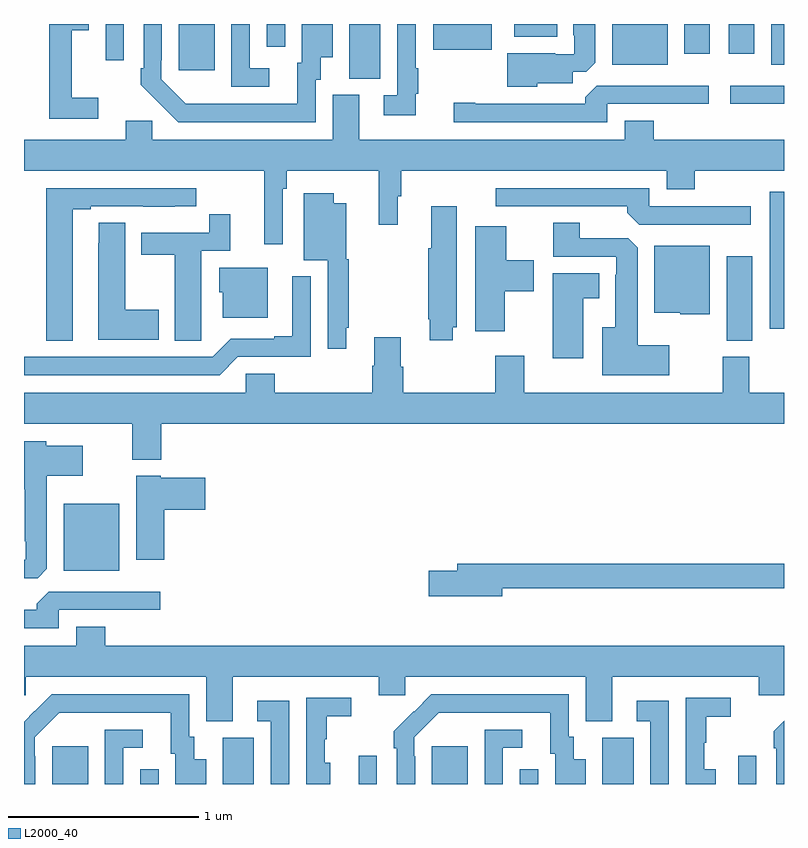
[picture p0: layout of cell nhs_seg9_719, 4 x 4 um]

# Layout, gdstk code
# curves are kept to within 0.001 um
import gdstk
lib = gdstk.Library(unit=1e-6, precision=1e-09)
def R(c, l, rs):  # rectangles x0, y0, x1, y1
    for r in rs: c.add(gdstk.rectangle(r[:2], r[2:], *l))
def P(c, l, *ps):  # polygons
    for p in ps: c.add(gdstk.Polygon(p, *l))
L2000_40 = (2000, 40)

nhs_seg9_719 = lib.new_cell('nhs_seg9_719')
R(nhs_seg9_719, L2000_40, [(147.149,1218.5,147.337,1218.7), (147.612,1218.5,147.708,1218.577), (148.046,1218.5,148.21,1218.744), (148.761,1218.5,148.857,1218.649), (149.147,1218.5,149.335,1218.7), (149.61,1218.5,149.706,1218.577), (150.044,1218.5,150.208,1218.744), (150.759,1218.5,150.855,1218.649), (147.209,1219.622,147.502,1219.975), (150.698,1220.833,150.832,1221.277), (150.926,1220.897,151,1221.618), (150.717,1222.08,151,1222.176), (148.712,1222.213,148.876,1222.5), (147.815,1222.257,148.003,1222.5), (150.095,1222.286,150.388,1222.5), (150.932,1222.286,151,1222.5), (147.429,1222.308,147.525,1222.5), (150.476,1222.344,150.61,1222.5), (150.71,1222.344,150.844,1222.5), (149.153,1222.364,149.461,1222.5), (148.278,1222.38,148.374,1222.5), (149.579,1222.433,149.806,1222.5)])
P(nhs_seg9_719, L2000_40, [(148.291,1222.266),(148.188,1222.266),(148.188,1222.5),(148.092,1222.5),(148.092,1222.17),(148.291,1222.17)],
  [(148.536,1222.206),(148.561,1222.206),(148.561,1222.325),(148.624,1222.325),(148.624,1222.5),(148.463,1222.5),(148.463,1222.296),(148.439,1222.296),(148.439,1222.08),(147.852,1222.081),(147.723,1222.209),(147.723,1222.309),(147.726,1222.309),(147.726,1222.5),(147.63,1222.5),(147.63,1222.267),(147.615,1222.267),(147.615,1222.179),(147.812,1221.984),(148.536,1221.984)],
  [(147.391,1222.111),(147.251,1222.111),(147.251,1222.466),(147.34,1222.466),(147.34,1222.5),(147.133,1222.5),(147.133,1222.002),(147.391,1222.002)],
  [(149.7,1222.187),(149.887,1222.187),(149.887,1222.248),(149.958,1222.248),(150.007,1222.297),(150.007,1222.5),(149.891,1222.5),(149.891,1222.441),(149.895,1222.441),(149.895,1222.341),(149.795,1222.341),(149.795,1222.345),(149.543,1222.345),(149.543,1222.169),(149.7,1222.169)],
  [(149.063,1222.132),(149.074,1222.132),(149.074,1222.268),(149.061,1222.268),(149.061,1222.5),(148.965,1222.5),(148.965,1222.125),(148.893,1222.125),(148.893,1222.02),(149.063,1222.02)],
  [(150.069,1222.08),(150.604,1222.08),(150.604,1222.176),(150.015,1222.176),(149.954,1222.114),(149.954,1222.08),(149.374,1222.08),(149.374,1222.085),(149.262,1222.085),(149.262,1221.984),(150.069,1221.984)],
  [(148.362,1221.632),(148.382,1221.632),(148.382,1221.728),(148.867,1221.728),(148.867,1221.444),(148.966,1221.444),(148.966,1221.594),(148.985,1221.594),(148.985,1221.728),(150.383,1221.728),(150.383,1221.629),(150.531,1221.629),(150.531,1221.728),(151,1221.728),(151,1221.892),(150.314,1221.892),(150.314,1221.991),(150.161,1221.991),(150.161,1221.892),(148.765,1221.892),(148.765,1222.128),(148.625,1222.128),(148.625,1221.892),(147.675,1221.892),(147.675,1221.99),(147.536,1221.99),(147.536,1221.892),(147,1221.892),(147,1221.728),(148.265,1221.728),(148.265,1221.342),(148.362,1221.342)],
  [(150.826,1221.54),(150.291,1221.54),(150.291,1221.636),(149.484,1221.636),(149.484,1221.54),(150.176,1221.54),(150.176,1221.506),(150.237,1221.444),(150.826,1221.444)],
  [(147.256,1221.525),(147.352,1221.525),(147.352,1221.54),(147.628,1221.54),(147.628,1221.539),(147.794,1221.539),(147.794,1221.54),(147.907,1221.54),(147.907,1221.636),(147.116,1221.636),(147.116,1220.833),(147.256,1220.833)],
  [(148.696,1220.902),(148.708,1220.902),(148.708,1221.261),(148.696,1221.261),(148.696,1221.556),(148.63,1221.556),(148.63,1221.61),(148.472,1221.61),(148.472,1221.257),(148.599,1221.257),(148.599,1220.79),(148.696,1220.79)],
  [(149.257,1220.904),(149.278,1220.904),(149.278,1221.541),(149.144,1221.541),(149.144,1221.319),(149.128,1221.319),(149.128,1220.947),(149.135,1220.947),(149.135,1220.835),(149.257,1220.835)],
  [(147.933,1220.944),(147.934,1220.944),(147.934,1221.306),(148.085,1221.306),(148.085,1221.499),(147.976,1221.499),(147.976,1221.402),(147.617,1221.402),(147.617,1221.286),(147.794,1221.286),(147.794,1220.833),(147.933,1220.833)],
  [(147.709,1220.997),(147.532,1220.997),(147.532,1221.455),(147.393,1221.455),(147.393,1221.347),(147.392,1221.347),(147.392,1220.837),(147.709,1220.837)],
  [(150.397,1220.809),(150.229,1220.809),(150.229,1221.323),(150.18,1221.372),(149.926,1221.372),(149.926,1221.455),(149.786,1221.455),(149.786,1221.276),(150.117,1221.276),(150.117,1221.179),(150.113,1221.179),(150.113,1220.905),(150.044,1220.905),(150.044,1220.651),(150.397,1220.651)],
  [(149.53,1221.094),(149.683,1221.094),(149.683,1221.256),(149.539,1221.256),(149.539,1221.436),(149.375,1221.436),(149.375,1220.883),(149.53,1220.883)],
  [(150.61,1221.334),(150.317,1221.334),(150.317,1220.981),(150.453,1220.981),(150.453,1220.972),(150.61,1220.972)],
  [(148.282,1221.217),(148.028,1221.217),(148.028,1221.087),(148.046,1221.087),(148.046,1220.954),(148.282,1220.954)],
  [(149.944,1221.056),(150.028,1221.056),(150.028,1221.187),(149.783,1221.187),(149.783,1220.742),(149.944,1220.742)],
  [(148.125,1220.748),(148.509,1220.748),(148.509,1221.172),(148.412,1221.172),(148.412,1220.857),(148.316,1220.857),(148.316,1220.844),(148.089,1220.844),(147.993,1220.748),(147,1220.748),(147,1220.652),(148.029,1220.652)],
  [(147.722,1220.396),(151,1220.396),(151,1220.56),(150.817,1220.56),(150.817,1220.748),(150.677,1220.748),(150.677,1220.56),(149.632,1220.56),(149.632,1220.755),(149.48,1220.755),(149.48,1220.56),(148.997,1220.56),(148.997,1220.697),(148.984,1220.697),(148.984,1220.851),(148.844,1220.851),(148.844,1220.702),(148.832,1220.702),(148.832,1220.56),(148.319,1220.56),(148.319,1220.658),(148.167,1220.658),(148.167,1220.56),(147,1220.56),(147,1220.396),(147.569,1220.396),(147.569,1220.207),(147.722,1220.207)],
  [(147.121,1219.633),(147.121,1220.123),(147.31,1220.123),(147.31,1220.281),(147.117,1220.281),(147.117,1220.305),(147,1220.305),(147,1220.051),(147.005,1220.051),(147.005,1219.777),(147.009,1219.777),(147.009,1219.68),(147,1219.68),(147,1219.584),(147.072,1219.584)],
  [(147.737,1219.943),(147.955,1219.943),(147.955,1220.113),(147.72,1220.113),(147.72,1220.122),(147.59,1220.122),(147.59,1219.68),(147.737,1219.68)],
  [(149.518,1219.53),(151,1219.53),(151,1219.658),(149.279,1219.658),(149.279,1219.622),(149.13,1219.622),(149.13,1219.487),(149.518,1219.487)],
  [(147.183,1219.416),(147.718,1219.416),(147.718,1219.512),(147.129,1219.512),(147.068,1219.45),(147.068,1219.416),(147,1219.416),(147,1219.32),(147.183,1219.32)],
  [(148.099,1219.064),(148.868,1219.064),(148.868,1218.966),(149.007,1218.966),(149.007,1219.064),(149.957,1219.064),(149.957,1218.829),(150.097,1218.829),(150.097,1219.064),(150.866,1219.064),(150.866,1218.966),(151,1218.966),(151,1219.228),(147.428,1219.228),(147.428,1219.327),(147.275,1219.327),(147.275,1219.228),(147,1219.228),(147,1218.966),(147.009,1218.966),(147.009,1219.064),(147.959,1219.064),(147.959,1218.829),(148.099,1218.829)],
  [(149.058,1218.647),(149.055,1218.647),(149.055,1218.747),(149.184,1218.876),(149.771,1218.876),(149.771,1218.66),(149.795,1218.66),(149.795,1218.5),(149.956,1218.5),(149.956,1218.631),(149.893,1218.631),(149.893,1218.75),(149.868,1218.75),(149.868,1218.972),(149.144,1218.972),(148.947,1218.777),(148.947,1218.689),(148.962,1218.689),(148.962,1218.5),(149.058,1218.5)],
  [(147.06,1218.647),(147.057,1218.647),(147.057,1218.747),(147.186,1218.876),(147.773,1218.876),(147.773,1218.66),(147.797,1218.66),(147.797,1218.5),(147.958,1218.5),(147.958,1218.631),(147.895,1218.631),(147.895,1218.75),(147.87,1218.75),(147.87,1218.972),(147.146,1218.972),(147,1218.828),(147,1218.5),(147.06,1218.5)],
  [(148.612,1218.613),(148.583,1218.613),(148.583,1218.735),(148.594,1218.735),(148.594,1218.856),(148.723,1218.856),(148.723,1218.954),(148.485,1218.954),(148.485,1218.5),(148.612,1218.5)],
  [(150.64,1218.577),(150.581,1218.577),(150.581,1218.717),(150.592,1218.717),(150.592,1218.853),(150.721,1218.853),(150.721,1218.954),(150.483,1218.954),(150.483,1218.5),(150.64,1218.5)],
  [(148.395,1218.937),(148.227,1218.937),(148.227,1218.831),(148.299,1218.831),(148.299,1218.5),(148.395,1218.5)],
  [(150.393,1218.937),(150.225,1218.937),(150.225,1218.831),(150.297,1218.831),(150.297,1218.5),(150.393,1218.5)],
  [(151,1218.832),(150.945,1218.777),(150.945,1218.689),(150.96,1218.689),(150.96,1218.5),(151,1218.5)],
  [(147.522,1218.69),(147.625,1218.69),(147.625,1218.786),(147.426,1218.786),(147.426,1218.5),(147.522,1218.5)],
  [(149.52,1218.69),(149.623,1218.69),(149.623,1218.786),(149.424,1218.786),(149.424,1218.5),(149.52,1218.5)])

lib.write_gds('nhs_seg9_719.gds')
